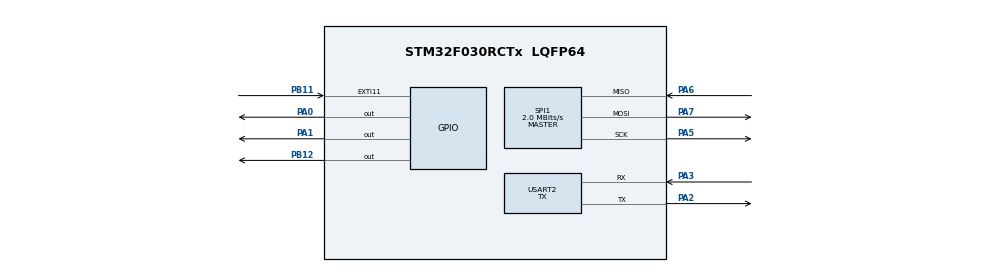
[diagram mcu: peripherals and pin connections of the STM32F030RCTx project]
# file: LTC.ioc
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Dma.Request0=USART2_TX
Dma.USART2_TX.0.Direction=DMA_MEMORY_TO_PERIPH
Dma.USART2_TX.0.Instance=DMA1_Channel2
Dma.USART2_TX.0.MemDataAlignment=DMA_MDATAALIGN_BYTE
Dma.USART2_TX.0.MemInc=DMA_MINC_ENABLE
Dma.USART2_TX.0.Mode=DMA_NORMAL
Dma.USART2_TX.0.PeriphDataAlignment=DMA_PDATAALIGN_BYTE
Dma.USART2_TX.0.PeriphInc=DMA_PINC_DISABLE
Dma.USART2_TX.0.Priority=DMA_PRIORITY_LOW
Mcu.Family=STM32F0
Mcu.Name=STM32F030RCTx
Mcu.Package=LQFP64
NVIC.DMA1_Channel2_3_IRQn=true\:0\:0\:false\:false\:true\:false\:true
NVIC.EXTI4_15_IRQn=true\:0\:0\:false\:false\:true\:true\:true
NVIC.USART2_IRQn=true\:0\:0\:false\:false\:true\:true\:true
PA0.Signal=GPIO_Output
PA1.Signal=GPIO_Output
PA13.Mode=Serial_Wire
PA13.Signal=SYS_SWDIO
PA14.Mode=Serial_Wire
PA14.Signal=SYS_SWCLK
PA2.Mode=Asynchronous
PA2.Signal=USART2_TX
PA3.Mode=Asynchronous
PA3.Signal=USART2_RX
PA5.Mode=Full_Duplex_Master
PA5.Signal=SPI1_SCK
PA6.Mode=Full_Duplex_Master
PA6.Signal=SPI1_MISO
PA7.Mode=Full_Duplex_Master
PA7.Signal=SPI1_MOSI
PB11.GPIO_ModeDefaultEXTI=GPIO_MODE_IT_RISING
PB11.Signal=GPXTI11
PB12.Signal=GPIO_Output
ProjectManager.HeapSize=0x200
ProjectManager.StackSize=0x400
ProjectManager.TargetToolchain=STM32CubeIDE
SPI1.BaudRatePrescaler=SPI_BAUDRATEPRESCALER_4
SPI1.CalculateBaudRate=2.0 MBits/s
SPI1.DataSize=SPI_DATASIZE_8BIT
SPI1.Direction=SPI_DIRECTION_2LINES
SPI1.Mode=SPI_MODE_MASTER
SPI1.NSSPMode=SPI_NSS_PULSE_ENABLE
SPI1.VirtualType=VM_MASTER
USART2.Mode=MODE_TX
USART2.VirtualMode-Asynchronous=VM_ASYNC
board=custom

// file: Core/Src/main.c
/* USER CODE BEGIN Header */
/**
  ******************************************************************************
  * @file           : main.c
  * @brief          : Main program body
  ******************************************************************************
  * @attention
  *
  * <h2><center>&copy; Copyright (c) 2021 STMicroelectronics.
  * All rights reserved.</center></h2>
  *
  * This software component is licensed by ST under BSD 3-Clause license,
  * the "License"; You may not use this file except in compliance with the
  * License. You may obtain a copy of the License at:
  *                        opensource.org/licenses/BSD-3-Clause
  *
  ******************************************************************************
  */
/* USER CODE END Header */
#include "main.h"

/* USER CODE BEGIN Includes */
#include "debug.h"
/* USER CODE END Includes */

/* USER CODE BEGIN PD */
#define SENSOR_TYPE_LSB 27

#define SENSOR_TYPE__TYPE_T_THERMOCOUPLE (uint32_t) 0x7 << SENSOR_TYPE_LSB
#define SENSOR_TYPE__RTD_PT_100 (uint32_t) 0xC << SENSOR_TYPE_LSB
#define SENSOR_TYPE__SENSE_RESISTOR (uint32_t) 0x1D << SENSOR_TYPE_LSB

#define TC_COLD_JUNCTION_CH_LSB 22

#define TC_COLD_JUNCTION_CH__NONE (uint32_t) 0x0 << TC_COLD_JUNCTION_CH_LSB
#define TC_COLD_JUNCTION_CH__12 (uint32_t) 0xC << TC_COLD_JUNCTION_CH_LSB

#define TC_DIFFERENTIAL_LSB 21
#define TC_DIFFERENTIAL (uint32_t) 0x0 << TC_DIFFERENTIAL_LSB
#define TC_SINGLE_ENDED (uint32_t) 0x1 << TC_DIFFERENTIAL_LSB

// tc - open ckt detect?
#define TC_OPEN_CKT_DETECT_LSB 20
#define TC_OPEN_CKT_DETECT__NO (uint32_t) 0x0 << TC_OPEN_CKT_DETECT_LSB
#define TC_OPEN_CKT_DETECT__YES (uint32_t) 0x1 << TC_OPEN_CKT_DETECT_LSB

// tc - open ckt detect current
#define TC_OPEN_CKT_DETECT_CURRENT_LSB 18
#define TC_OPEN_CKT_DETECT_CURRENT__10UA (uint32_t) 0x0 << TC_OPEN_CKT_DETECT_CURRENT_LSB
#define TC_OPEN_CKT_DETECT_CURRENT__100UA (uint32_t) 0x1 << TC_OPEN_CKT_DETECT_CURRENT_LSB
#define TC_OPEN_CKT_DETECT_CURRENT__500UA (uint32_t) 0x2 << TC_OPEN_CKT_DETECT_CURRENT_LSB
#define TC_OPEN_CKT_DETECT_CURRENT__1MA (uint32_t) 0x3 << TC_OPEN_CKT_DETECT_CURRENT_LSB

#define RTD_RSENSE_CHANNEL_LSB 22
#define RTD_RSENSE_CHANNEL__10 (uint32_t) 0xA << RTD_RSENSE_CHANNEL_LSB

#define RTD_NUM_WIRES_LSB 20
#define RTD_NUM_WIRES__4_WIRE (uint32_t) 0x2 << RTD_NUM_WIRES_LSB

#define RTD_EXCITATION_MODE_LSB 18
#define RTD_EXCITATION_MODE__NO_ROTATION_NO_SHARING (uint32_t) 0x0 << RTD_EXCITATION_MODE_LSB

#define RTD_EXCITATION_CURRENT_LSB 14
#define RTD_EXCITATION_CURRENT__25UA (uint32_t) 0x3 << RTD_EXCITATION_CURRENT_LSB

#define RTD_STANDARD_LSB 12
#define RTD_STANDARD__EUROPEAN (uint32_t) 0x0 << RTD_STANDARD_LSB

#define RSENSE_MAIN_VAL_LSB 10
#define RSENSE_2K (uint32_t) 0x7D0 << RSENSE_MAIN_VAL_LSB
/* USER CODE END PD */

SPI_HandleTypeDef hspi1;

UART_HandleTypeDef huart2;
DMA_HandleTypeDef hdma_usart2_tx;

void SystemClock_Config(void);
static void MX_GPIO_Init(void);
static void MX_DMA_Init(void);
static void MX_USART2_UART_Init(void);
static void MX_SPI1_Init(void);

/* USER CODE BEGIN 0 */

void HAL_GPIO_EXTI_Callback(uint16_t GPIO_Pin)
{

	if (GPIO_Pin == GPIO_PIN_11)
	{
		//dbg_printf("INT\r\n");
	}

}
/* USER CODE END 0 */

int main(void)
{
  /* USER CODE BEGIN 1 */
	uint8_t writeCmd = 0x02;
	uint8_t readCmd = 0x03;

  /* USER CODE END 1 */

  /* MCU Configuration--------------------------------------------------------*/

  /* Reset of all peripherals, Initializes the Flash interface and the Systick. */
  HAL_Init();

  /* Configure the system clock */
  SystemClock_Config();

  /* Initialize all configured peripherals */
  MX_GPIO_Init();
  MX_DMA_Init();
  MX_USART2_UART_Init();
  MX_SPI1_Init();
  /* USER CODE BEGIN 2 */

  debug_init();

  uint8_t status = 0;
  uint8_t addr[2];
  addr[0] = 0x00;
  addr[1] = 0x00;

  for (int idx=0; idx<10; idx++)
  {
	  HAL_GPIO_WritePin(GPIOB, GPIO_PIN_12, GPIO_PIN_RESET);
	  HAL_SPI_Transmit(&hspi1, &readCmd, 1, 1000);
	  HAL_SPI_Transmit(&hspi1, &addr[0], 2, 1000);
	  HAL_SPI_Receive(&hspi1, &status, 1, 1000);
	  HAL_GPIO_WritePin(GPIOB, GPIO_PIN_12, GPIO_PIN_SET);

	  HAL_Delay(100);

	  dbg_printf("Initial status : %x\n", status);

	  HAL_Delay(100);
  }

  uint32_t ch_data;
  ch_data = SENSOR_TYPE__TYPE_T_THERMOCOUPLE | TC_COLD_JUNCTION_CH__12 | TC_SINGLE_ENDED  | TC_OPEN_CKT_DETECT__YES | TC_OPEN_CKT_DETECT_CURRENT__10UA;

  uint8_t chDataArray[4];
  chDataArray[3] = (uint8_t)ch_data;
  chDataArray[2] = (uint8_t)(ch_data>>=8);
  chDataArray[1] = (uint8_t)(ch_data>>=8);
  chDataArray[0] = (uint8_t)(ch_data>>=8);

  for (int idx = 0; idx < 8; idx++)
  {
	  uint8_t chAddrArray[2];
	  chAddrArray[0] = 0x02;
	  chAddrArray[1] = 0x00 + 4*idx;

	  HAL_GPIO_WritePin(GPIOB, GPIO_PIN_12, GPIO_PIN_RESET);
	  HAL_SPI_Transmit(&hspi1, &writeCmd, 1, 1000);
	  HAL_SPI_Transmit(&hspi1, &chAddrArray[0], 2, 1000);
	  HAL_SPI_Transmit(&hspi1, &chDataArray[0], 4, 1000);
	  HAL_GPIO_WritePin(GPIOB, GPIO_PIN_12, GPIO_PIN_SET);

	  HAL_Delay(100);
  }

  uint32_t readMulti = 1<<0 | 1<<1 | 1<<2 |  1<<3  | 1<<4  | 1<<5  | 1<<6  | 1<<7  | 1<<8 /* | 1<<9 | 1<<10 | 1<<11| 1<<12 */| 1<<13 | 1<<14 | 1<<15 | 1<<16 | 1<<17 | 1<<18 | 1<<19 | 1<<20;
  uint8_t readDataMulti[4];
  readDataMulti[3] = (uint8_t)readMulti;
  readDataMulti[2] = (uint8_t)(readMulti>>=8);
  readDataMulti[1] = (uint8_t)(readMulti>>=8);
  readDataMulti[0] = (uint8_t)(readMulti>>=8);

  uint8_t readMultiAddr[2];
  readMultiAddr[0] = 0x00;
  readMultiAddr[1] = 0xF4;

  HAL_GPIO_WritePin(GPIOB, GPIO_PIN_12, GPIO_PIN_RESET);
  HAL_SPI_Transmit(&hspi1, &writeCmd, 1, 1000);
  HAL_SPI_Transmit(&hspi1, &readMultiAddr[0], 2, 1000);
  HAL_SPI_Transmit(&hspi1, &readDataMulti[0], 4, 1000);
  HAL_GPIO_WritePin(GPIOB, GPIO_PIN_12, GPIO_PIN_SET);

  uint32_t rtdData = SENSOR_TYPE__RTD_PT_100 | RTD_RSENSE_CHANNEL__10 | RTD_NUM_WIRES__4_WIRE | RTD_EXCITATION_MODE__NO_ROTATION_NO_SHARING | RTD_EXCITATION_CURRENT__25UA | RTD_STANDARD__EUROPEAN;
  uint8_t rtdDataArray[4];
  rtdDataArray[3] = (uint8_t)rtdData;
  rtdDataArray[2] = (uint8_t)(rtdData>>=8);
  rtdDataArray[1] = (uint8_t)(rtdData>>=8);
  rtdDataArray[0] = (uint8_t)(rtdData>>=8);

  uint8_t rtdAddr[2];
  rtdAddr[0] = 0x02;
  rtdAddr[1] = 0x2C;

  HAL_GPIO_WritePin(GPIOB, GPIO_PIN_12, GPIO_PIN_RESET);
  HAL_SPI_Transmit(&hspi1, &writeCmd, 1, 1000);
  HAL_SPI_Transmit(&hspi1, &rtdAddr[0], 2, 1000);
  HAL_SPI_Transmit(&hspi1, &rtdDataArray[0], 4, 1000);
  HAL_GPIO_WritePin(GPIOB, GPIO_PIN_12, GPIO_PIN_SET);

  uint32_t rSenseData = SENSOR_TYPE__SENSE_RESISTOR | RSENSE_2K | (uint32_t)0x1E;
  uint8_t rSenseArray[4];
  rSenseArray[3] = (uint8_t)rSenseData;
  rSenseArray[2] = (uint8_t)(rSenseData>>=8);
  rSenseArray[1] = (uint8_t)(rSenseData>>=8);
  rSenseArray[0] = (uint8_t)(rSenseData>>=8);

  uint8_t rSenseAddr[2];
  rSenseAddr[0] = 0x02;
  rSenseAddr[1] = 0x24;

  HAL_GPIO_WritePin(GPIOB, GPIO_PIN_12, GPIO_PIN_RESET);
  HAL_SPI_Transmit(&hspi1, &writeCmd, 1, 1000);
  HAL_SPI_Transmit(&hspi1, &rSenseAddr[0], 2, 1000);
  HAL_SPI_Transmit(&hspi1, &rSenseArray[0], 4, 1000);
  HAL_GPIO_WritePin(GPIOB, GPIO_PIN_12, GPIO_PIN_SET);

  int startTime = HAL_GetTick();
  uint8_t counter = 0;
  while (1)
  {
	  uint8_t beginConv = 0x80;
	  HAL_GPIO_WritePin(GPIOB, GPIO_PIN_12, GPIO_PIN_RESET);
	  HAL_SPI_Transmit(&hspi1, &writeCmd, 1, 1000);
	  HAL_SPI_Transmit(&hspi1, &addr[0], 2, 1000);
	  HAL_SPI_Transmit(&hspi1, &beginConv, 1, 1000);
	  HAL_GPIO_WritePin(GPIOB, GPIO_PIN_12, GPIO_PIN_SET);

	  uint8_t process_fin = 0;

	  while(process_fin == 0)
	  {
		  HAL_GPIO_WritePin(GPIOB, GPIO_PIN_12, GPIO_PIN_RESET);
		  HAL_SPI_Transmit(&hspi1, &readCmd, 1, 1000);
		  HAL_SPI_Transmit(&hspi1, &addr[0], 2, 1000);
		  HAL_SPI_Receive(&hspi1, &status, 1, 1000);
		  HAL_GPIO_WritePin(GPIOB, GPIO_PIN_12, GPIO_PIN_SET);

		  process_fin = status & 0x40;

	  }
	  /*HAL_GPIO_WritePin(GPIOA, GPIO_PIN_1, 1);
	  HAL_Delay(500);
	  HAL_GPIO_WritePin(GPIOA, GPIO_PIN_1, 0);
	  HAL_Delay(500);*/

	  for (int idx = 0; idx < 20; idx++)
	  {
		  uint8_t resAddrArray[2];
		  resAddrArray[0] = 0x00;
		  resAddrArray[1] = 0x10 + 4*idx;

		  uint8_t resArray[4];

		  HAL_GPIO_WritePin(GPIOB, GPIO_PIN_12, GPIO_PIN_RESET);
		  HAL_SPI_Transmit(&hspi1, &readCmd, 1, 1000);
		  HAL_SPI_Transmit(&hspi1, &resAddrArray[0], 2, 1000);
		  HAL_SPI_Receive(&hspi1, &resArray[0], 4, 1000);
		  HAL_GPIO_WritePin(GPIOB, GPIO_PIN_12, GPIO_PIN_SET);

		  //dbg_printf("Temperature : %x - %x - %x - %x \n", resArray[0], resArray[1], resArray[2], resArray[3]);

		  uint32_t rawData = (((uint32_t) resArray[0]) << 24 |
				  ((uint32_t) resArray[1]) << 16 |
				  ((uint32_t) resArray[2]) <<  8 |
				  ((uint32_t) resArray[3]) <<  0);

		  int statusTemp = rawData >> 24;

		  uint32_t rawConvData = rawData & 0xFFFFFF;

		  int signedRawData = rawConvData;

		  if(signedRawData & 0x800000)
			  signedRawData = signedRawData | 0xFF000000;

		  float scaledRes = (float)signedRawData / 1024;

		  if (idx == 0 || idx == 11)
		  {
			  dbg_printf("Ch : %d - Temperature : %f status : %x - %d\n", idx+1, scaledRes, statusTemp, HAL_GetTick());
			  dbg_printf("Ch : %d - Temperature : %f status : %x - %d\n", idx+1, scaledRes, statusTemp, HAL_GetTick());
		  }

	  }
	  counter++;

	  if (counter >=10)
	  {
		  dbg_printf("%d - %d\n", HAL_GetTick(), startTime);
		  counter = 0;
	  }

  }
  /* USER CODE END 3 */
}

void SystemClock_Config(void)
{
  RCC_OscInitTypeDef RCC_OscInitStruct = {0};
  RCC_ClkInitTypeDef RCC_ClkInitStruct = {0};

  /** Initializes the RCC Oscillators according to the specified parameters
  * in the RCC_OscInitTypeDef structure.
  */
  RCC_OscInitStruct.OscillatorType = RCC_OSCILLATORTYPE_HSI;
  RCC_OscInitStruct.HSIState = RCC_HSI_ON;
  RCC_OscInitStruct.HSICalibrationValue = RCC_HSICALIBRATION_DEFAULT;
  RCC_OscInitStruct.PLL.PLLState = RCC_PLL_NONE;
  if (HAL_RCC_OscConfig(&RCC_OscInitStruct) != HAL_OK)
  {
    Error_Handler();
  }
  /** Initializes the CPU, AHB and APB buses clocks
  */
  RCC_ClkInitStruct.ClockType = RCC_CLOCKTYPE_HCLK|RCC_CLOCKTYPE_SYSCLK
                              |RCC_CLOCKTYPE_PCLK1;
  RCC_ClkInitStruct.SYSCLKSource = RCC_SYSCLKSOURCE_HSI;
  RCC_ClkInitStruct.AHBCLKDivider = RCC_SYSCLK_DIV1;
  RCC_ClkInitStruct.APB1CLKDivider = RCC_HCLK_DIV1;

  if (HAL_RCC_ClockConfig(&RCC_ClkInitStruct, FLASH_LATENCY_0) != HAL_OK)
  {
    Error_Handler();
  }
}

static void MX_SPI1_Init(void)
{

  /* SPI1 parameter configuration*/
  hspi1.Instance = SPI1;
  hspi1.Init.Mode = SPI_MODE_MASTER;
  hspi1.Init.Direction = SPI_DIRECTION_2LINES;
  hspi1.Init.DataSize = SPI_DATASIZE_8BIT;
  hspi1.Init.CLKPolarity = SPI_POLARITY_LOW;
  hspi1.Init.CLKPhase = SPI_PHASE_1EDGE;
  hspi1.Init.NSS = SPI_NSS_SOFT;
  hspi1.Init.BaudRatePrescaler = SPI_BAUDRATEPRESCALER_4;
  hspi1.Init.FirstBit = SPI_FIRSTBIT_MSB;
  hspi1.Init.TIMode = SPI_TIMODE_DISABLE;
  hspi1.Init.CRCCalculation = SPI_CRCCALCULATION_DISABLE;
  hspi1.Init.CRCPolynomial = 7;
  hspi1.Init.CRCLength = SPI_CRC_LENGTH_DATASIZE;
  hspi1.Init.NSSPMode = SPI_NSS_PULSE_ENABLE;
  if (HAL_SPI_Init(&hspi1) != HAL_OK)
  {
    Error_Handler();
  }

}

static void MX_USART2_UART_Init(void)
{

  huart2.Instance = USART2;
  huart2.Init.BaudRate = 115200;
  huart2.Init.WordLength = UART_WORDLENGTH_8B;
  huart2.Init.StopBits = UART_STOPBITS_1;
  huart2.Init.Parity = UART_PARITY_NONE;
  huart2.Init.Mode = UART_MODE_TX;
  huart2.Init.HwFlowCtl = UART_HWCONTROL_NONE;
  huart2.Init.OverSampling = UART_OVERSAMPLING_16;
  huart2.Init.OneBitSampling = UART_ONE_BIT_SAMPLE_DISABLE;
  huart2.AdvancedInit.AdvFeatureInit = UART_ADVFEATURE_NO_INIT;
  if (HAL_UART_Init(&huart2) != HAL_OK)
  {
    Error_Handler();
  }

}

static void MX_DMA_Init(void)
{

  /* DMA controller clock enable */
  __HAL_RCC_DMA1_CLK_ENABLE();

  /* DMA interrupt init */
  /* DMA1_Channel2_3_IRQn interrupt configuration */
  HAL_NVIC_SetPriority(DMA1_Channel2_3_IRQn, 0, 0);
  HAL_NVIC_EnableIRQ(DMA1_Channel2_3_IRQn);

}

static void MX_GPIO_Init(void)
{
  GPIO_InitTypeDef GPIO_InitStruct = {0};

  /* GPIO Ports Clock Enable */
  __HAL_RCC_GPIOA_CLK_ENABLE();
  __HAL_RCC_GPIOB_CLK_ENABLE();

  /*Configure GPIO pin Output Level */
  HAL_GPIO_WritePin(GPIOA, GPIO_PIN_0|GPIO_PIN_1, GPIO_PIN_RESET);

  /*Configure GPIO pin Output Level */
  HAL_GPIO_WritePin(GPIOB, GPIO_PIN_12, GPIO_PIN_RESET);

  /*Configure GPIO pins : PA0 PA1 */
  GPIO_InitStruct.Pin = GPIO_PIN_0|GPIO_PIN_1;
  GPIO_InitStruct.Mode = GPIO_MODE_OUTPUT_PP;
  GPIO_InitStruct.Pull = GPIO_NOPULL;
  GPIO_InitStruct.Speed = GPIO_SPEED_FREQ_LOW;
  HAL_GPIO_Init(GPIOA, &GPIO_InitStruct);

  /*Configure GPIO pin : PB11 */
  GPIO_InitStruct.Pin = GPIO_PIN_11;
  GPIO_InitStruct.Mode = GPIO_MODE_IT_RISING;
  GPIO_InitStruct.Pull = GPIO_NOPULL;
  HAL_GPIO_Init(GPIOB, &GPIO_InitStruct);

  /*Configure GPIO pin : PB12 */
  GPIO_InitStruct.Pin = GPIO_PIN_12;
  GPIO_InitStruct.Mode = GPIO_MODE_OUTPUT_PP;
  GPIO_InitStruct.Pull = GPIO_NOPULL;
  GPIO_InitStruct.Speed = GPIO_SPEED_FREQ_LOW;
  HAL_GPIO_Init(GPIOB, &GPIO_InitStruct);

  /* EXTI interrupt init*/
  HAL_NVIC_SetPriority(EXTI4_15_IRQn, 0, 0);
  HAL_NVIC_EnableIRQ(EXTI4_15_IRQn);

}

void Error_Handler(void)
{
  __disable_irq();
  while (1)
  {
  }
}

/************************ (C) COPYRIGHT STMicroelectronics *****END OF FILE****/
